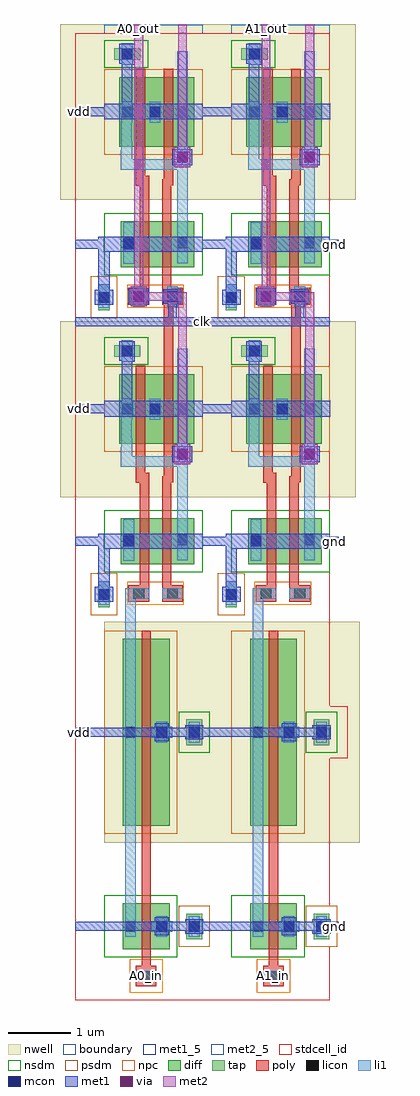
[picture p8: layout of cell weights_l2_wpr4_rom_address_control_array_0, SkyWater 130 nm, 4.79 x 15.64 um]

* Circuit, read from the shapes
.subckt weights_l2_wpr4_rom_address_control_array_0 A0_in A0_out A1_in A1_out Abar0_out Abar1_out clk gnd vdd
XM1 n1 weights_l2_wpr4_rom_address_control_buf_0/sky130_fd_bd_sram__openram_sp_nand2_dec_1/B gnd gnd sky130_fd_pr__nfet_01v8 w=0.74 l=0.15
XM2 n2 A0_out gnd gnd sky130_fd_pr__nfet_01v8 w=0.74 l=0.15
XM3 gnd A0_in weights_l2_wpr4_rom_address_control_buf_0/sky130_fd_bd_sram__openram_sp_nand2_dec_1/B gnd sky130_fd_pr__nfet_01v8 w=0.74 l=0.15
XM4 A0_out clk n1 gnd sky130_fd_pr__nfet_01v8 w=0.74 l=0.15
XM5 Abar0_out clk n2 gnd sky130_fd_pr__nfet_01v8 w=0.74 l=0.15
XM6 n3 weights_l2_wpr4_rom_address_control_buf_1/sky130_fd_bd_sram__openram_sp_nand2_dec_1/B gnd gnd sky130_fd_pr__nfet_01v8 w=0.74 l=0.15
XM7 n4 A1_out gnd gnd sky130_fd_pr__nfet_01v8 w=0.74 l=0.15
XM8 gnd A1_in weights_l2_wpr4_rom_address_control_buf_1/sky130_fd_bd_sram__openram_sp_nand2_dec_1/B gnd sky130_fd_pr__nfet_01v8 w=0.74 l=0.15
XM9 A1_out clk n3 gnd sky130_fd_pr__nfet_01v8 w=0.74 l=0.15
XM10 Abar1_out clk n4 gnd sky130_fd_pr__nfet_01v8 w=0.74 l=0.15
XM11 vdd weights_l2_wpr4_rom_address_control_buf_0/sky130_fd_bd_sram__openram_sp_nand2_dec_1/B A0_out vdd sky130_fd_pr__pfet_01v8 w=1.12 l=0.15
XM12 vdd A0_out Abar0_out vdd sky130_fd_pr__pfet_01v8 w=1.12 l=0.15
XM13 vdd A0_in weights_l2_wpr4_rom_address_control_buf_0/sky130_fd_bd_sram__openram_sp_nand2_dec_1/B vdd sky130_fd_pr__pfet_01v8 w=3 l=0.15
XM14 A0_out clk vdd vdd sky130_fd_pr__pfet_01v8 w=1.12 l=0.15
XM15 Abar0_out clk vdd vdd sky130_fd_pr__pfet_01v8 w=1.12 l=0.15
XM16 vdd weights_l2_wpr4_rom_address_control_buf_1/sky130_fd_bd_sram__openram_sp_nand2_dec_1/B A1_out vdd sky130_fd_pr__pfet_01v8 w=1.12 l=0.15
XM17 vdd A1_out Abar1_out vdd sky130_fd_pr__pfet_01v8 w=1.12 l=0.15
XM18 vdd A1_in weights_l2_wpr4_rom_address_control_buf_1/sky130_fd_bd_sram__openram_sp_nand2_dec_1/B vdd sky130_fd_pr__pfet_01v8 w=3 l=0.15
XM19 A1_out clk vdd vdd sky130_fd_pr__pfet_01v8 w=1.12 l=0.15
XM20 Abar1_out clk vdd vdd sky130_fd_pr__pfet_01v8 w=1.12 l=0.15
.ends

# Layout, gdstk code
from math import pi, radians
import gdstk
lib = gdstk.Library(unit=1e-6, precision=1e-09)
def R(c, l, rs):  # rectangles x0, y0, x1, y1
    for r in rs: c.add(gdstk.rectangle(r[:2], r[2:], *l))
nwell = (64, 20)
diff = (65, 20)
tap = (65, 44)
poly = (66, 20)
licon = (66, 44)
li1 = (67, 20)
mcon = (67, 44)
met1_5 = (68, 5)
met1 = (68, 20)
via = (68, 44)
met2_5 = (69, 5)
met2 = (69, 20)
stdcell_id = (81, 4)
nsdm = (93, 44)
psdm = (94, 20)
npc = (95, 20)
boundary = (235, 4)

weights_l2_wpr4_contact_ = lib.new_cell('weights_l2_wpr4_contact_10')
R(weights_l2_wpr4_contact_, nwell, [(-0.295,-0.255,0.545,0.585)])
R(weights_l2_wpr4_contact_, diff, [(0,0.02,0.25,0.31)])
R(weights_l2_wpr4_contact_, licon, [(0.04,0.08,0.21,0.25)])
R(weights_l2_wpr4_contact_, li1, [(0.04,0,0.21,0.33)])
R(weights_l2_wpr4_contact_, stdcell_id, [(-0.295,-0.255,0.545,0.585)])
R(weights_l2_wpr4_contact_, psdm, [(-0.125,-0.105,0.375,0.435)])
R(weights_l2_wpr4_contact_, boundary, [(-0.295,-0.255,0.545,0.585)])

weights_l2_wpr4_pmos_m1_ = lib.new_cell('weights_l2_wpr4_pmos_m1_w3_000_sli_dli_da_p')
R(weights_l2_wpr4_pmos_m1_, nwell, [(-0.27,-0.27,1.02,3.27)])
R(weights_l2_wpr4_pmos_m1_, diff, [(0,0,0.75,3)])
R(weights_l2_wpr4_pmos_m1_, poly, [(0.3,-0.13,0.45,3.13), (0.3,-0.13,0.45,3.13)])
R(weights_l2_wpr4_pmos_m1_, li1, [(0.04,1.335,0.21,1.665), (0.54,1.335,0.71,1.665)])
R(weights_l2_wpr4_pmos_m1_, stdcell_id, [(-0.27,-0.27,1.02,3.27)])
R(weights_l2_wpr4_pmos_m1_, psdm, [(-0.125,-0.125,0.875,3.125)])
R(weights_l2_wpr4_pmos_m1_, boundary, [(-0.27,-0.27,1.02,3.27)])
weights_l2_wpr4_pmos_m1_.add(gdstk.Reference(weights_l2_wpr4_contact_, (0,1.335)))
weights_l2_wpr4_pmos_m1_.add(gdstk.Reference(weights_l2_wpr4_contact_, (0.5,1.335)))
weights_l2_wpr4_pmos_m1_.add(gdstk.Label('G', (0.375,1.5), layer=66, texttype=5))
weights_l2_wpr4_pmos_m1_.add(gdstk.Label('S', (0.125,1.5), layer=67, texttype=5))
weights_l2_wpr4_pmos_m1_.add(gdstk.Label('D', (0.625,1.5), layer=67, texttype=5))

c_weights_l2_wpr4_contact_ = lib.new_cell('weights_l2_wpr4_contact_8')
R(c_weights_l2_wpr4_contact_, diff, [(0,0.02,0.25,0.31)])
R(c_weights_l2_wpr4_contact_, licon, [(0.04,0.08,0.21,0.25)])
R(c_weights_l2_wpr4_contact_, li1, [(0.04,0,0.21,0.33)])
R(c_weights_l2_wpr4_contact_, stdcell_id, [(-0.125,-0.105,0.375,0.435)])
R(c_weights_l2_wpr4_contact_, nsdm, [(-0.125,-0.105,0.375,0.435)])
R(c_weights_l2_wpr4_contact_, boundary, [(-0.125,-0.105,0.375,0.435)])

weights_l2_wpr4_nmos_m1_ = lib.new_cell('weights_l2_wpr4_nmos_m1_w0_740_sli_dli_da_p')
R(weights_l2_wpr4_nmos_m1_, diff, [(0,0,0.75,0.74)])
R(weights_l2_wpr4_nmos_m1_, poly, [(0.3,-0.13,0.45,0.87), (0.3,-0.13,0.45,0.87)])
R(weights_l2_wpr4_nmos_m1_, li1, [(0.04,0.205,0.21,0.535), (0.54,0.205,0.71,0.535)])
R(weights_l2_wpr4_nmos_m1_, stdcell_id, [(-0.125,-0.13,0.875,0.87)])
R(weights_l2_wpr4_nmos_m1_, nsdm, [(-0.125,-0.125,0.875,0.865)])
R(weights_l2_wpr4_nmos_m1_, boundary, [(-0.125,-0.13,0.875,0.87)])
weights_l2_wpr4_nmos_m1_.add(gdstk.Reference(c_weights_l2_wpr4_contact_, (0,0.205)))
weights_l2_wpr4_nmos_m1_.add(gdstk.Reference(c_weights_l2_wpr4_contact_, (0.5,0.205)))
weights_l2_wpr4_nmos_m1_.add(gdstk.Label('G', (0.375,0.37), layer=66, texttype=5))
weights_l2_wpr4_nmos_m1_.add(gdstk.Label('S', (0.125,0.37), layer=67, texttype=5))
weights_l2_wpr4_nmos_m1_.add(gdstk.Label('D', (0.625,0.37), layer=67, texttype=5))

c_weights_l2_wpr4_contact__ = lib.new_cell('weights_l2_wpr4_contact_11')
R(c_weights_l2_wpr4_contact__, poly, [(0,0,0.33,0.33)])
R(c_weights_l2_wpr4_contact__, licon, [(0.08,0.08,0.25,0.25)])
R(c_weights_l2_wpr4_contact__, li1, [(0.08,0,0.25,0.33)])
R(c_weights_l2_wpr4_contact__, stdcell_id, [(-0.1,-0.1,0.43,0.43)])
R(c_weights_l2_wpr4_contact__, npc, [(-0.1,-0.1,0.43,0.43)])
R(c_weights_l2_wpr4_contact__, boundary, [(-0.1,-0.1,0.43,0.43)])

c_weights_l2_wpr4_contact___ = lib.new_cell('weights_l2_wpr4_contact_12')
R(c_weights_l2_wpr4_contact___, li1, [(0.06,0,0.23,0.33)])
R(c_weights_l2_wpr4_contact___, mcon, [(0.06,0.08,0.23,0.25)])
R(c_weights_l2_wpr4_contact___, met1, [(0,0.05,0.29,0.28)])
R(c_weights_l2_wpr4_contact___, stdcell_id, [(0,0,0.29,0.33)])
R(c_weights_l2_wpr4_contact___, boundary, [(0,0,0.29,0.33)])

weights_l2_wpr4_inv_arra = lib.new_cell('weights_l2_wpr4_inv_array_mod')
R(weights_l2_wpr4_inv_arra, nwell, [(2.52,0,6.06,2.055)])
R(weights_l2_wpr4_inv_arra, poly, [(0.385,0.6,0.68,0.75), (1.68,0.6,2.66,0.75)])
R(weights_l2_wpr4_inv_arra, li1, [(1.015,0.34,5.97,0.51), (0.3,0.51,0.47,0.84)])
R(weights_l2_wpr4_inv_arra, met1_5, [(1.11,0,1.25,1.58), (4.22,0,4.36,1.58)])
R(weights_l2_wpr4_inv_arra, met1, [(1.11,0,1.25,1.58), (4.22,0,4.36,1.58)])
R(weights_l2_wpr4_inv_arra, stdcell_id, [(0,0,5.97,1.58), (0,0,5.97,1.58)])
R(weights_l2_wpr4_inv_arra, nsdm, [(0.685,0,1.675,1.05)])
R(weights_l2_wpr4_inv_arra, psdm, [(2.665,0,5.915,1.05)])
R(weights_l2_wpr4_inv_arra, boundary, [(0,0,5.97,1.58), (0,0,5.97,1.58)])
weights_l2_wpr4_inv_arra.add(gdstk.Reference(weights_l2_wpr4_pmos_m1_, (2.79,1.05), rotation=3*pi/2))
weights_l2_wpr4_inv_arra.add(gdstk.Reference(weights_l2_wpr4_nmos_m1_, (0.81,1.05), rotation=3*pi/2))
weights_l2_wpr4_inv_arra.add(gdstk.Reference(c_weights_l2_wpr4_contact__, (0.22,0.51)))
weights_l2_wpr4_inv_arra.add(gdstk.Reference(c_weights_l2_wpr4_contact___, (1.035,0.76)))
weights_l2_wpr4_inv_arra.add(gdstk.Reference(c_weights_l2_wpr4_contact___, (4.145,0.76)))
weights_l2_wpr4_inv_arra.add(gdstk.Label('A', (0.385,0.675), layer=67, texttype=5))
weights_l2_wpr4_inv_arra.add(gdstk.Label('Z', (3.492,0.425), layer=67, texttype=5))
weights_l2_wpr4_inv_arra.add(gdstk.Label('gnd', (1.18,0.79), layer=68, texttype=5))
weights_l2_wpr4_inv_arra.add(gdstk.Label('vdd', (4.29,0.79), layer=68, texttype=5))

sky130_fd_bd_sram__openr = lib.new_cell('sky130_fd_bd_sram__openram_sp_nand2_dec')
R(sky130_fd_bd_sram__openr, nwell, [(1.95,-0.7,4.77,1.99)])
R(sky130_fd_bd_sram__openr, diff, [(2.8,0.24,3.92,1.445), (0.87,0.27,1.61,1.445)])
R(sky130_fd_bd_sram__openr, tap, [(0.18,-0.09,0.6,0.09), (4.195,0.16,4.385,0.58)])
R(sky130_fd_bd_sram__openr, poly, [(0.27,0.39,0.54,0.57), (2.18,0.51,4.05,0.57), (0.27,0.57,4.05,0.66), (0.27,0.66,2.34,0.72), (0.27,0.93,2.28,0.96), (0.27,0.96,4.05,1.08), (0.27,1.08,0.54,1.26), (2.19,1.08,4.05,1.11)])
R(sky130_fd_bd_sram__openr, licon, [(0.305,-0.085,0.475,0.085), (3.275,0.28,3.445,0.45), (4.205,0.285,4.375,0.455), (1.185,0.31,1.355,0.48), (0.32,0.47,0.49,0.64), (3.275,0.73,3.445,0.9), (0.32,1.01,0.49,1.18), (1.175,1.17,1.345,1.34), (3.275,1.17,3.445,1.34)])
R(sky130_fd_bd_sram__openr, li1, [(0.22,-0.09,0.6,0.09), (2.435,0.27,2.75,0.275), (2.435,0.275,3.315,0.28), (2.435,0.28,3.53,0.445), (4.115,0.28,4.465,0.46), (0.93,0.31,1.59,0.48), (0.32,0.39,0.49,0.72), (0.32,0.39,0.49,0.72), (2.435,0.445,2.88,0.45), (3.19,0.445,3.53,0.45), (2.435,0.45,2.605,1.17), (3.19,0.73,3.525,0.9), (0.32,0.93,0.49,1.26), (0.32,0.93,0.49,1.26), (0.94,1.17,4.33,1.34), (0.94,1.17,4.33,1.34)])
R(sky130_fd_bd_sram__openr, mcon, [(0.305,-0.085,0.475,0.085), (4.205,0.285,4.375,0.455), (1.16,0.31,1.33,0.48), (3.275,0.73,3.445,0.9)])
R(sky130_fd_bd_sram__openr, met1_5, [(1.12,-0.005,1.36,1.58), (1.12,-0.005,1.36,1.58), (3.24,0.45,3.49,1.585), (3.24,0.45,3.49,1.585)])
R(sky130_fd_bd_sram__openr, met1, [(0.27,-0.15,0.51,-0.09), (0.27,-0.09,1.36,0.09), (1.12,-0.005,1.36,1.58), (3.24,0,3.49,0.28), (0.27,0.09,0.51,0.15), (1.12,0.09,1.36,1.58), (4.135,0.24,4.45,0.28), (3.24,0.28,4.45,0.45), (3.24,0.45,3.49,1.585), (3.24,0.45,3.49,1.585), (4.115,0.45,4.45,0.49)])
R(sky130_fd_bd_sram__openr, nsdm, [(0.745,0,1.735,1.58), (4.07,0,4.51,0.705)])
R(sky130_fd_bd_sram__openr, psdm, [(0.055,-0.215,0.725,0.215), (2.675,0,4.045,1.58)])
R(sky130_fd_bd_sram__openr, npc, [(0.22,0.37,0.59,1.28)])
R(sky130_fd_bd_sram__openr, boundary, [(0,0,4.76,1.58)])
sky130_fd_bd_sram__openr.add(gdstk.Label('GND', (1.24,0.782), layer=68, texttype=5))
sky130_fd_bd_sram__openr.add(gdstk.Label('VDD', (3.365,1.03), layer=68, texttype=5))
sky130_fd_bd_sram__openr.add(gdstk.Label('vdd', (3.365,1.03), layer=68, texttype=5))
sky130_fd_bd_sram__openr.add(gdstk.Label('gnd', (1.24,0.78), layer=68, texttype=5))
sky130_fd_bd_sram__openr.add(gdstk.Label('A', (0.405,1.095), layer=67, texttype=5))
sky130_fd_bd_sram__openr.add(gdstk.Label('B', (0.405,0.555), layer=67, texttype=5))
sky130_fd_bd_sram__openr.add(gdstk.Label('Z', (2.635,1.255), layer=67, texttype=5))
sky130_fd_bd_sram__openr.add(gdstk.Label('A', (0.405,1.095), layer=67, texttype=5))
sky130_fd_bd_sram__openr.add(gdstk.Label('B', (0.405,0.555), layer=67, texttype=5))
sky130_fd_bd_sram__openr.add(gdstk.Label('Z', (2.635,1.255), layer=67, texttype=5))
sky130_fd_bd_sram__openr.add(gdstk.Label('vdd', (3.365,1.018), layer=68, texttype=5))
sky130_fd_bd_sram__openr.add(gdstk.Label('gnd', (1.24,0.788), layer=68, texttype=5))

c_weights_l2_wpr4_contact____ = lib.new_cell('weights_l2_wpr4_contact_13')
R(c_weights_l2_wpr4_contact____, met1, [(0,0.03,0.32,0.29)])
R(c_weights_l2_wpr4_contact____, via, [(0.085,0.085,0.235,0.235)])
R(c_weights_l2_wpr4_contact____, met2, [(0.03,0,0.29,0.32)])
R(c_weights_l2_wpr4_contact____, stdcell_id, [(0,0,0.32,0.32)])
R(c_weights_l2_wpr4_contact____, boundary, [(0,0,0.32,0.32)])

c_weights_l2_wpr4_contact_____ = lib.new_cell('weights_l2_wpr4_contact_19')
R(c_weights_l2_wpr4_contact_____, nwell, [(-0.295,-0.215,0.545,0.625)])
R(c_weights_l2_wpr4_contact_____, tap, [(0,0,0.25,0.41)])
R(c_weights_l2_wpr4_contact_____, licon, [(0.04,0.12,0.21,0.29)])
R(c_weights_l2_wpr4_contact_____, li1, [(0.04,0.04,0.21,0.37)])
R(c_weights_l2_wpr4_contact_____, stdcell_id, [(-0.295,-0.215,0.545,0.625)])
R(c_weights_l2_wpr4_contact_____, nsdm, [(-0.125,-0.125,0.375,0.535)])
R(c_weights_l2_wpr4_contact_____, boundary, [(-0.295,-0.215,0.545,0.625)])

c_weights_l2_wpr4_contact______ = lib.new_cell('weights_l2_wpr4_contact_20')
R(c_weights_l2_wpr4_contact______, tap, [(0,0,0.25,0.41)])
R(c_weights_l2_wpr4_contact______, licon, [(0.04,0.12,0.21,0.29)])
R(c_weights_l2_wpr4_contact______, li1, [(0.04,0.04,0.21,0.37)])
R(c_weights_l2_wpr4_contact______, stdcell_id, [(-0.125,-0.125,0.375,0.535)])
R(c_weights_l2_wpr4_contact______, psdm, [(-0.125,-0.125,0.375,0.535)])
R(c_weights_l2_wpr4_contact______, boundary, [(-0.125,-0.125,0.375,0.535)])

weights_l2_wpr4_rom_addr = lib.new_cell('weights_l2_wpr4_rom_address_control_buf')
R(weights_l2_wpr4_rom_addr, poly, [(0.47,8.745,0.62,11.275)])
R(weights_l2_wpr4_rom_addr, li1, [(0.74,0.3,1.07,0.47), (1.07,3.49,1.24,6.6)])
R(weights_l2_wpr4_rom_addr, met1_5, [(0,1.11,1.58,1.25), (0,4.22,1.58,4.36), (0,7.23,1.585,7.47), (-0.005,9.35,1.13,9.6), (0.415,10.8,0.555,10.94), (0,11.99,1.585,12.23), (-0.005,14.11,1.13,14.36)])
R(weights_l2_wpr4_rom_addr, met1, [(0,1.11,1.58,1.25), (0,4.22,1.58,4.36), (0,7.23,1.585,7.47), (0.165,8.615,0.485,8.875), (-0.005,9.35,1.13,9.6), (0.415,10.8,0.555,10.94), (0.415,10.87,0.555,11.275), (0.865,11.145,1.185,11.405), (0,11.99,1.585,12.23), (0.165,13.375,0.485,13.635), (-0.005,14.11,1.13,14.36)])
R(weights_l2_wpr4_rom_addr, met2_5, [(0.255,15.49,0.395,15.63), (0.955,15.49,1.095,15.63)])
R(weights_l2_wpr4_rom_addr, met2, [(0.255,8.745,0.395,11.275), (0.255,11.205,0.395,11.345), (0.325,11.205,1.025,11.345), (0.955,11.275,1.095,15.63), (0.255,13.505,0.395,15.63), (0.255,15.49,0.395,15.63), (0.955,15.49,1.095,15.63)])
R(weights_l2_wpr4_rom_addr, stdcell_id, [(0,0,2.04,15.49)])
R(weights_l2_wpr4_rom_addr, boundary, [(0,0,2.04,15.49)])
weights_l2_wpr4_rom_addr.add(gdstk.Reference(weights_l2_wpr4_inv_arra, (1.58,0), rotation=pi/2))
weights_l2_wpr4_rom_addr.add(gdstk.Reference(sky130_fd_bd_sram__openr, (1.58,6.11), rotation=pi/2))
weights_l2_wpr4_rom_addr.add(gdstk.Reference(sky130_fd_bd_sram__openr, (1.58,10.87), rotation=pi/2))
weights_l2_wpr4_rom_addr.add(gdstk.Reference(c_weights_l2_wpr4_contact___, (0.34,11.11)))
weights_l2_wpr4_rom_addr.add(gdstk.Reference(c_weights_l2_wpr4_contact___, (0.88,11.11)))
weights_l2_wpr4_rom_addr.add(gdstk.Reference(c_weights_l2_wpr4_contact____, (0.865,11.115)))
weights_l2_wpr4_rom_addr.add(gdstk.Reference(c_weights_l2_wpr4_contact___, (0.18,8.58)))
weights_l2_wpr4_rom_addr.add(gdstk.Reference(c_weights_l2_wpr4_contact____, (0.165,8.585)))
weights_l2_wpr4_rom_addr.add(gdstk.Reference(c_weights_l2_wpr4_contact___, (0.18,13.34)))
weights_l2_wpr4_rom_addr.add(gdstk.Reference(c_weights_l2_wpr4_contact____, (0.165,13.345)))
weights_l2_wpr4_rom_addr.add(gdstk.Reference(c_weights_l2_wpr4_contact_____, (0.01,4.085)))
weights_l2_wpr4_rom_addr.add(gdstk.Reference(c_weights_l2_wpr4_contact___, (-0.01,4.125)))
weights_l2_wpr4_rom_addr.add(gdstk.Reference(c_weights_l2_wpr4_contact______, (0.01,0.975)))
weights_l2_wpr4_rom_addr.add(gdstk.Reference(c_weights_l2_wpr4_contact___, (-0.01,1.015)))
weights_l2_wpr4_rom_addr.add(gdstk.Label('clk', (0.485,10.87), layer=68, texttype=5))
weights_l2_wpr4_rom_addr.add(gdstk.Label('A_out', (1.025,15.56), layer=69, texttype=5))
weights_l2_wpr4_rom_addr.add(gdstk.Label('Abar_out', (0.325,15.56), layer=69, texttype=5))
weights_l2_wpr4_rom_addr.add(gdstk.Label('A_in', (0.905,0.385), layer=67, texttype=5))
weights_l2_wpr4_rom_addr.add(gdstk.Label('vdd', (0.563,9.475), layer=68, texttype=5))
weights_l2_wpr4_rom_addr.add(gdstk.Label('vdd', (0.79,4.29), layer=68, texttype=5))
weights_l2_wpr4_rom_addr.add(gdstk.Label('vdd', (0.563,14.235), layer=68, texttype=5))
weights_l2_wpr4_rom_addr.add(gdstk.Label('gnd', (0.79,1.18), layer=68, texttype=5))
weights_l2_wpr4_rom_addr.add(gdstk.Label('gnd', (0.792,12.11), layer=68, texttype=5))
weights_l2_wpr4_rom_addr.add(gdstk.Label('gnd', (0.792,7.35), layer=68, texttype=5))

c_weights_l2_wpr4_rom_addr = lib.new_cell('weights_l2_wpr4_rom_address_control_array_0')
R(c_weights_l2_wpr4_rom_addr, li1, [(0.97,0.3,1.3,0.47), (3.01,0.3,3.34,0.47)])
R(c_weights_l2_wpr4_rom_addr, met1_5, [(4.08,1.11,4.22,1.25), (0,4.22,0.14,4.36), (4.08,7.28,4.22,7.42), (0,9.405,0.14,9.545), (0,10.8,4.08,10.94), (4.08,12.04,4.22,12.18), (0,14.165,0.14,14.305)])
R(c_weights_l2_wpr4_rom_addr, met1, [(0,1.11,4.08,1.25), (1.18,1.11,1.32,1.25), (3.22,1.11,3.36,1.25), (4.08,1.11,4.22,1.25), (0,4.22,0.14,4.36), (0,4.22,4.08,4.36), (1.18,4.22,1.32,4.36), (3.22,4.22,3.36,4.36), (0,7.28,4.08,7.42), (1.18,7.28,1.32,7.42), (3.22,7.28,3.36,7.42), (4.08,7.28,4.22,7.42), (0,9.405,0.14,9.545), (0,9.405,4.085,9.545), (1.41,9.405,1.55,9.545), (3.45,9.405,3.59,9.545), (0,10.8,4.08,10.94), (1.485,10.8,1.625,10.94), (3.525,10.8,3.665,10.94), (0,12.04,4.08,12.18), (1.18,12.04,1.32,12.18), (3.22,12.04,3.36,12.18), (4.08,12.04,4.22,12.18), (0,14.165,0.14,14.305), (0,14.165,4.085,14.305), (1.41,14.165,1.55,14.305), (3.45,14.165,3.59,14.305)])
R(c_weights_l2_wpr4_rom_addr, met2_5, [(0.945,15.49,1.085,15.63), (1.645,15.49,1.785,15.63), (2.985,15.49,3.125,15.63), (3.685,15.49,3.825,15.63)])
R(c_weights_l2_wpr4_rom_addr, met2, [(0.945,15.49,1.085,15.63), (1.645,15.49,1.785,15.63), (2.985,15.49,3.125,15.63), (3.685,15.49,3.825,15.63)])
R(c_weights_l2_wpr4_rom_addr, stdcell_id, [(0,0,4.08,15.49)])
R(c_weights_l2_wpr4_rom_addr, boundary, [(0,0,4.08,15.49)])
c_weights_l2_wpr4_rom_addr.add(gdstk.Reference(weights_l2_wpr4_rom_addr, (2.04,0), rotation=pi, x_reflection=True))
c_weights_l2_wpr4_rom_addr.add(gdstk.Reference(weights_l2_wpr4_rom_addr, (4.08,0), rotation=pi, x_reflection=True))
c_weights_l2_wpr4_rom_addr.add(gdstk.Label('clk', (2.04,10.87), layer=68, texttype=5))
c_weights_l2_wpr4_rom_addr.add(gdstk.Label('vdd', (0.07,14.235), layer=68, texttype=5))
c_weights_l2_wpr4_rom_addr.add(gdstk.Label('vdd', (0.07,9.475), layer=68, texttype=5))
c_weights_l2_wpr4_rom_addr.add(gdstk.Label('vdd', (0.07,4.29), layer=68, texttype=5))
c_weights_l2_wpr4_rom_addr.add(gdstk.Label('gnd', (4.15,1.18), layer=68, texttype=5))
c_weights_l2_wpr4_rom_addr.add(gdstk.Label('gnd', (4.15,7.35), layer=68, texttype=5))
c_weights_l2_wpr4_rom_addr.add(gdstk.Label('gnd', (4.15,12.11), layer=68, texttype=5))
c_weights_l2_wpr4_rom_addr.add(gdstk.Label('A0_out', (1.015,15.56), layer=69, texttype=5))
c_weights_l2_wpr4_rom_addr.add(gdstk.Label('Abar0_out', (1.715,15.56), layer=69, texttype=5))
c_weights_l2_wpr4_rom_addr.add(gdstk.Label('A0_in', (1.135,0.385), layer=67, texttype=5))
c_weights_l2_wpr4_rom_addr.add(gdstk.Label('A1_out', (3.055,15.56), layer=69, texttype=5))
c_weights_l2_wpr4_rom_addr.add(gdstk.Label('Abar1_out', (3.755,15.56), layer=69, texttype=5))
c_weights_l2_wpr4_rom_addr.add(gdstk.Label('A1_in', (3.175,0.385), layer=67, texttype=5))

lib.write_gds('weights_l2_wpr4_rom_address_control_array_0.gds')
